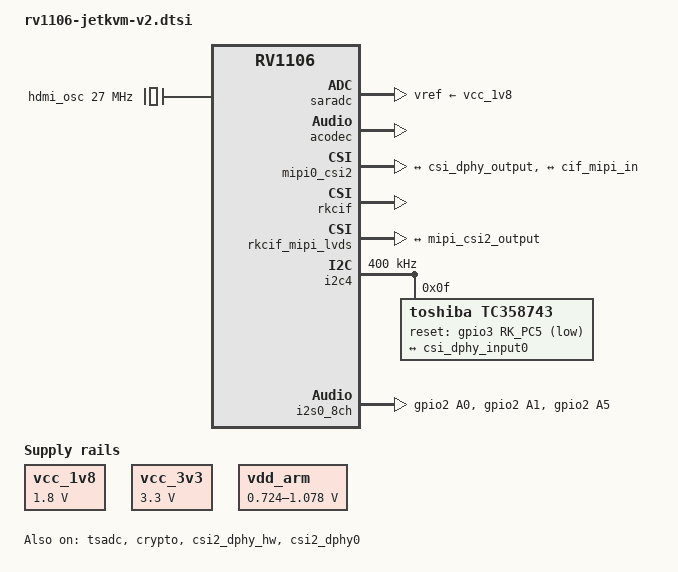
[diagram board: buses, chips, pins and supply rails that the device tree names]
// SPDX-License-Identifier: (GPL-2.0+ OR MIT)
/*
 * Copyright (c) 2024 BuildJet, Inc.
 * Copyright (c) 2022 Rockchip Electronics Co., Ltd.
 */
#include "rv1106-amp.dtsi"

/ {
	chosen {
		bootargs = "earlycon=uart8250,mmio32,0xff4c0000 console=ttyFIQ0 rootwait snd_soc_core.prealloc_buffer_size_kbytes=16 coherent_pool=0";
	};

	/* 27 MHz ref clock for TC358743 */
	hdmi_osc: hdmi-osc {
		compatible = "fixed-clock";
		#clock-cells = <0>;
		clock-output-names = "hdmi-osc";
		clock-frequency = <27000000>;
	};

	/* Always-on rails */
	vcc_1v8: vcc-1v8 {
		compatible = "regulator-fixed";
		regulator-name = "vcc_1v8";
		regulator-min-microvolt = <1800000>;
		regulator-max-microvolt = <1800000>;
		regulator-always-on;
		regulator-boot-on;
	};

	vcc_3v3: vcc-3v3 {
		compatible = "regulator-fixed";
		regulator-name = "vcc_3v3";
		regulator-min-microvolt = <3300000>;
		regulator-max-microvolt = <3300000>;
		regulator-always-on;
		regulator-boot-on;
	};

	/* CPU PWM regulator */
	vdd_arm: vdd-arm {
		compatible = "pwm-regulator";
		regulator-name = "vdd_arm";
		pwms = <&pwm0 0 5000 1>;
		regulator-min-microvolt = <724000>;
		regulator-max-microvolt = <1078000>;
		regulator-init-microvolt = <950000>;
		regulator-always-on;
		regulator-boot-on;
		regulator-settling-time-up-us = <250>;
	};

	/* Dummy codec sink + simple-card to capture I²S from TC358743 */
	dummy_codec: dummy-codec {
		compatible = "rockchip,dummy-codec";
		#sound-dai-cells = <0>;
	};

	hdmi_sound: hdmi-sound {
		compatible = "simple-audio-card";
		simple-audio-card,name = "tc358743-hdmi";
		simple-audio-card,format = "i2s";
		simple-audio-card,bitclock-master = <&dai_codec>;
		simple-audio-card,frame-master    = <&dai_codec>;
		simple-audio-card,mclk-fs = <256>;

		simple-audio-card,cpu {
			sound-dai = <&i2s0_8ch>;
			dai-tdm-slot-num = <2>;
			dai-tdm-slot-width = <32>;
		};

		dai_codec: simple-audio-card,codec {
			sound-dai = <&dummy_codec>;
		};
	};
};

/* Supplies */
&cpu0 { cpu-supply = <&vdd_arm>; };

&saradc {
	status = "okay";
	vref-supply = <&vcc_1v8>;
};

&tsadc { status = "okay"; };
&crypto { status = "okay"; };

/* Analog codec kept enabled */
&acodec {
	#sound-dai-cells = <0>;
	pa-ctl-gpios = <&gpio1 RK_PA1 GPIO_ACTIVE_HIGH>;
	status = "okay";
};

/* CSI/MIPI path */
&csi2_dphy_hw { status = "okay"; };

&csi2_dphy0 {
	status = "okay";

	ports {
		#address-cells = <1>;
		#size-cells = <0>;

		port@0 {
			reg = <0>;
			#address-cells = <1>;
			#size-cells = <0>;

			csi_dphy_input0: endpoint@0 {
				reg = <0>;
				remote-endpoint = <&hdmiin_out0>;
				data-lanes = <1 2>; /* set to <1 2 3 4> if you wire 4 lanes to SoC */
			};
		};

		port@1 {
			reg = <1>;
			#address-cells = <1>;
			#size-cells = <0>;

			csi_dphy_output: endpoint@0 {
				reg = <0>;
				remote-endpoint = <&mipi_csi2_input>;
			};
		};
	};
};

&mipi0_csi2 {
	status = "okay";

	ports {
		#address-cells = <1>;
		#size-cells = <0>;

		port@0 {
			reg = <0>;
			#address-cells = <1>;
			#size-cells = <0>;

			mipi_csi2_input: endpoint@1 {
				reg = <1>;
				remote-endpoint = <&csi_dphy_output>;
			};
		};

		port@1 {
			reg = <1>;
			#address-cells = <1>;
			#size-cells = <0>;

			mipi_csi2_output: endpoint@0 {
				reg = <0>;
				remote-endpoint = <&cif_mipi_in>;
			};
		};
	};
};

&rkcif { status = "okay"; };

&rkcif_mipi_lvds {
	status = "okay";
	pinctrl-names = "default";
	pinctrl-0 = <&mipi_pins>;

	port {
		cif_mipi_in: endpoint {
			remote-endpoint = <&mipi_csi2_output>;
		};
	};
};

/* TC358743 bridge on I2C4 */
&i2c4 {
	status = "okay";
	clock-frequency = <400000>;
	pinctrl-names = "default";
	pinctrl-0 = <&i2c4m2_xfer>;

	tc358743: tc358743@0f {
		compatible = "toshiba,tc358743";
		reg = <0x0f>;
		status = "okay";

		clocks = <&hdmi_osc>;
		clock-names = "refclk";

		reset-gpios = <&gpio3 RK_PC5 GPIO_ACTIVE_LOW>;

		rockchip,camera-module-index = <0>;
		rockchip,camera-module-facing = "back";
		rockchip,camera-module-name = "TC358743XBG";
		rockchip,camera-module-lens-name = "NC";

		#sound-dai-cells = <0>;

		port {
			hdmiin_out0: endpoint {
				remote-endpoint = <&csi_dphy_input0>;
				data-lanes = <1 2 3 4>;
				clock-noncontinuous;
				link-frequencies = /bits/ 64 <297000000>;
			};
		};
	};
};

/* I2S0 in RX clocking mode (BCLK/LRCLK from TC358743) */
&i2s0_8ch {
	#sound-dai-cells = <0>;
	status = "okay";
	rockchip,trcm-sync-rx-only;

	pinctrl-names = "default";
	pinctrl-0 = <&i2s0m0_sclk_rx &i2s0m0_lrck_rx &i2s0m0_sdi0>;
};

/* Provide missing I2S0 RX pin labels */
&pinctrl {
	i2s0 {
		/omit-if-no-ref/
		i2s0m0_sclk_rx: i2s0m0-sclk-rx {
			rockchip,pins = <2 RK_PA0 2 &pcfg_pull_none>; /* I2S0_SCLK */
		};
		/omit-if-no-ref/
		i2s0m0_lrck_rx: i2s0m0-lrck-rx {
			rockchip,pins = <2 RK_PA1 2 &pcfg_pull_none>; /* I2S0_LRCK */
		};
		/omit-if-no-ref/
		i2s0m0_sdi0: i2s0m0-sdi0 {
			rockchip,pins = <2 RK_PA5 2 &pcfg_pull_none>; /* I2S0_SDI0 */
		};
		/omit-if-no-ref/
		i2s0m0_mclk: i2s0m0-mclk {
			rockchip,pins = <2 RK_PA2 2 &pcfg_pull_none>; /* optional MCLK */
		};
	};
};
